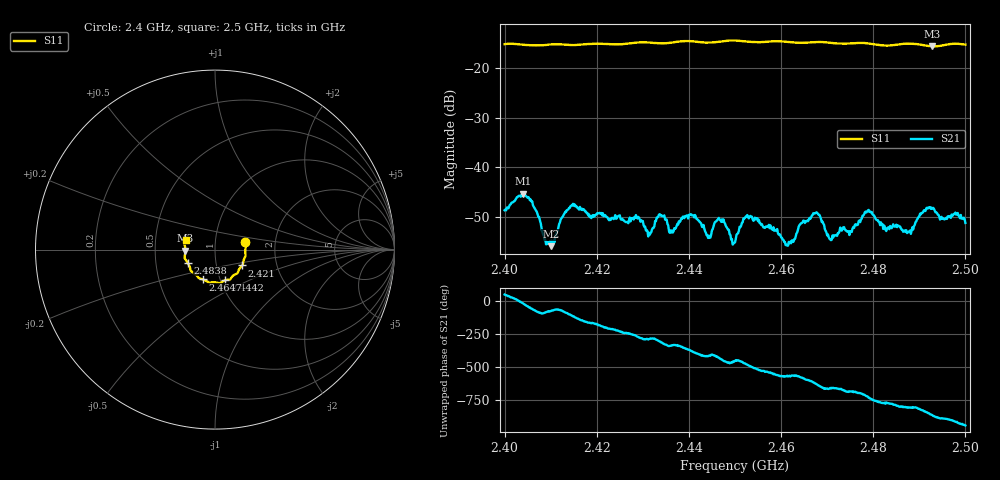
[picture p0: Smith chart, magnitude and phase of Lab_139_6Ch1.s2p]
# Hz S RI R 50
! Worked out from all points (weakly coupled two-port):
!   601 points, 2.4 GHz to 2.5 GHz, reference 50 ohm
!   highest |S21| = -45.33 dB at 2.404 GHz (marker M1); lowest = -55.9 dB at 2.41 GHz (marker M2)
!   lowest |S11| = -15.7 dB at 2.4928 GHz (marker M3), VSWR 1.40, Z = 35.8 - j0.405 ohm
!   |S11| at or under -10 dB: start of sweep to end of sweep
!   S12 and S22 are empty: the file has one direction only
!   S11 on the Smith chart (normalised r, x): 2.4 GHz: 1.40, +0.12; 2.421 GHz: 1.33, -0.24; 2.4442 GHz: 1.05, -0.37; 2.4647 GHz: 0.83, -0.28; 2.4838 GHz: 0.73, -0.11; 2.5 GHz: 0.71, +0.08
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2.4e9  0.1688 0.0406  0.0026 0.00263  0 0  0 0
2.404e9  0.1705 0.0183  0.00506 -0.00192  0 0  0 0
2.41e9  0.1701 -0.0284  0.000274 -0.00158  0 0  0 0
2.416667e9  0.1581 -0.0685  -0.00317 -0.00195  0 0  0 0
2.421e9  0.1513 -0.0886  -0.00337 0.000777  0 0  0 0
2.431333e9  0.1201 -0.1349  0.000759 0.00206  0 0  0 0
2.433333e9  0.1084 -0.1401  0.00161 0.00273  0 0  0 0
2.436167e9  0.093 -0.1539  0.00207 0.000753  0 0  0 0
2.441e9  0.0784 -0.1676  0.00286 -0.00161  0 0  0 0
2.444167e9  0.0569 -0.1707  0.000986 -0.00167  0 0  0 0
2.446667e9  0.0383 -0.1801  0.000736 -0.00287  0 0  0 0
2.45e9  0.0246 -0.1875  -0.000195 -0.00174  0 0  0 0
2.452333e9  0.0142 -0.1847  -0.00147 -0.00284  0 0  0 0
2.461333e9  -0.042 -0.1782  -0.00147 0.000697  0 0  0 0
2.464667e9  -0.0672 -0.1662  -0.00207 0.00188  0 0  0 0
2.466667e9  -0.0811 -0.1623  -0.00116 0.00305  0 0  0 0
2.470833e9  -0.096 -0.1511  0.000975 0.00157  0 0  0 0
2.478667e9  -0.1369 -0.1122  0.00357 -5.34e-05  0 0  0 0
2.483333e9  -0.1497 -0.0763  0.00149 -0.00198  0 0  0 0
2.483833e9  -0.1525 -0.0719  0.00134 -0.0021  0 0  0 0
2.492833e9  -0.1649 -0.00549  -0.00306 -0.0023  0 0  0 0
2.5e9  -0.1639 0.0518  -0.00209 0.00179  0 0  0 0
